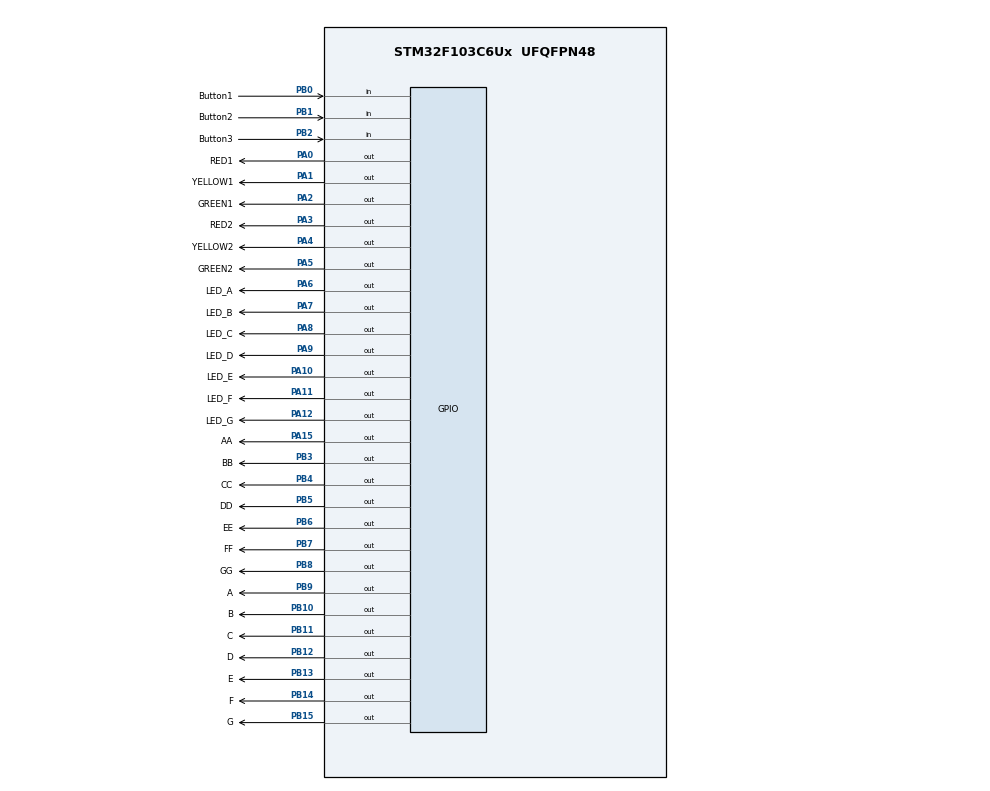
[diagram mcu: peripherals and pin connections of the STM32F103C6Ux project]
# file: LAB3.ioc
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Mcu.Family=STM32F1
Mcu.Name=STM32F103C6Ux
Mcu.Package=UFQFPN48
NVIC.PriorityGroup=NVIC_PRIORITYGROUP_4
NVIC.TIM2_IRQn=true\:0\:0\:false\:false\:true\:true\:true
PA0-WKUP.GPIO_Label=RED1
PA0-WKUP.Signal=GPIO_Output
PA1.GPIO_Label=YELLOW1
PA1.Signal=GPIO_Output
PA10.GPIO_Label=LED_E
PA10.Signal=GPIO_Output
PA11.GPIO_Label=LED_F
PA11.Signal=GPIO_Output
PA12.GPIO_Label=LED_G
PA12.Signal=GPIO_Output
PA15.GPIO_Label=AA
PA15.Signal=GPIO_Output
PA2.GPIO_Label=GREEN1
PA2.Signal=GPIO_Output
PA3.GPIO_Label=RED2
PA3.Signal=GPIO_Output
PA4.GPIO_Label=YELLOW2
PA4.Signal=GPIO_Output
PA5.GPIO_Label=GREEN2
PA5.Signal=GPIO_Output
PA6.GPIO_Label=LED_A
PA6.Signal=GPIO_Output
PA7.GPIO_Label=LED_B
PA7.Signal=GPIO_Output
PA8.GPIO_Label=LED_C
PA8.Signal=GPIO_Output
PA9.GPIO_Label=LED_D
PA9.Signal=GPIO_Output
PB0.GPIO_Label=Button1
PB0.Signal=GPIO_Input
PB1.GPIO_Label=Button2
PB1.Signal=GPIO_Input
PB10.GPIO_Label=B
PB10.Signal=GPIO_Output
PB11.GPIO_Label=C
PB11.Signal=GPIO_Output
PB12.GPIO_Label=D
PB12.Signal=GPIO_Output
PB13.GPIO_Label=E
PB13.Signal=GPIO_Output
PB14.GPIO_Label=F
PB14.Signal=GPIO_Output
PB15.GPIO_Label=G
PB15.Signal=GPIO_Output
PB2.GPIO_Label=Button3
PB2.Signal=GPIO_Input
PB3.GPIO_Label=BB
PB3.Signal=GPIO_Output
PB4.GPIO_Label=CC
PB4.Signal=GPIO_Output
PB5.GPIO_Label=DD
PB5.Signal=GPIO_Output
PB6.GPIO_Label=EE
PB6.Signal=GPIO_Output
PB7.GPIO_Label=FF
PB7.Signal=GPIO_Output
PB8.GPIO_Label=GG
PB8.Signal=GPIO_Output
PB9.GPIO_Label=A
PB9.Signal=GPIO_Output
ProjectManager.HeapSize=0x200
ProjectManager.StackSize=0x400
ProjectManager.TargetToolchain=STM32CubeIDE
RCC.APB1Freq_Value=8000000
RCC.APB2Freq_Value=8000000
TIM2.Period=9
TIM2.Prescaler=7999
VP_SYS_VS_ND.Mode=No_Debug
VP_TIM2_VS_ClockSourceINT.Mode=Internal
board=custom

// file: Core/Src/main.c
/* USER CODE BEGIN Header */
/**
  ******************************************************************************
  * @file           : main.c
  * @brief          : Main program body
  ******************************************************************************
  * @attention
  *
  * <h2><center>&copy; Copyright (c) 2022 STMicroelectronics.
  * All rights reserved.</center></h2>
  *
  * This software component is licensed by ST under BSD 3-Clause license,
  * the "License"; You may not use this file except in compliance with the
  * License. You may obtain a copy of the License at:
  *                        opensource.org/licenses/BSD-3-Clause
  *
  ******************************************************************************
  */
/* USER CODE END Header */
#include "main.h"

/* USER CODE BEGIN Includes */
#include "global.h"
#include "software_timer.h"
#include "fsm_automatic.h"
#include "button.h"
#include "display7SEG.h"
#include "button2.h"
#include "button3.h"
#include "toggleLED.h"
/* USER CODE END Includes */

TIM_HandleTypeDef htim2;

void SystemClock_Config(void);
static void MX_GPIO_Init(void);
static void MX_TIM2_Init(void);

int main(void)
{

  /* MCU Configuration--------------------------------------------------------*/

  /* Reset of all peripherals, Initializes the Flash interface and the Systick. */
  HAL_Init();

  /* Configure the system clock */
  SystemClock_Config();

  /* Initialize all configured peripherals */
  MX_GPIO_Init();
  MX_TIM2_Init();
  /* USER CODE BEGIN 2 */
  HAL_TIM_Base_Start_IT(&htim2);
  /* USER CODE END 2 */

  /* Infinite loop */
  /* USER CODE BEGIN WHILE */
  status = INIT;
  status2 = INIT;
  while (1)
  {
	  if(Mode == 1){
		  fsm_automatic_run();
		  fsm_automatic_run2();
	  }
    /* USER CODE END WHILE */

  }
}

void SystemClock_Config(void)
{
  RCC_OscInitTypeDef RCC_OscInitStruct = {0};
  RCC_ClkInitTypeDef RCC_ClkInitStruct = {0};

  /** Initializes the RCC Oscillators according to the specified parameters
  * in the RCC_OscInitTypeDef structure.
  */
  RCC_OscInitStruct.OscillatorType = RCC_OSCILLATORTYPE_HSI;
  RCC_OscInitStruct.HSIState = RCC_HSI_ON;
  RCC_OscInitStruct.HSICalibrationValue = RCC_HSICALIBRATION_DEFAULT;
  RCC_OscInitStruct.PLL.PLLState = RCC_PLL_NONE;
  if (HAL_RCC_OscConfig(&RCC_OscInitStruct) != HAL_OK)
  {
    Error_Handler();
  }
  /** Initializes the CPU, AHB and APB buses clocks
  */
  RCC_ClkInitStruct.ClockType = RCC_CLOCKTYPE_HCLK|RCC_CLOCKTYPE_SYSCLK
                              |RCC_CLOCKTYPE_PCLK1|RCC_CLOCKTYPE_PCLK2;
  RCC_ClkInitStruct.SYSCLKSource = RCC_SYSCLKSOURCE_HSI;
  RCC_ClkInitStruct.AHBCLKDivider = RCC_SYSCLK_DIV1;
  RCC_ClkInitStruct.APB1CLKDivider = RCC_HCLK_DIV1;
  RCC_ClkInitStruct.APB2CLKDivider = RCC_HCLK_DIV1;

  if (HAL_RCC_ClockConfig(&RCC_ClkInitStruct, FLASH_LATENCY_0) != HAL_OK)
  {
    Error_Handler();
  }
}

static void MX_TIM2_Init(void)
{

  TIM_ClockConfigTypeDef sClockSourceConfig = {0};
  TIM_MasterConfigTypeDef sMasterConfig = {0};

  htim2.Instance = TIM2;
  htim2.Init.Prescaler = 7999;
  htim2.Init.CounterMode = TIM_COUNTERMODE_UP;
  htim2.Init.Period = 9;
  htim2.Init.ClockDivision = TIM_CLOCKDIVISION_DIV1;
  htim2.Init.AutoReloadPreload = TIM_AUTORELOAD_PRELOAD_DISABLE;
  if (HAL_TIM_Base_Init(&htim2) != HAL_OK)
  {
    Error_Handler();
  }
  sClockSourceConfig.ClockSource = TIM_CLOCKSOURCE_INTERNAL;
  if (HAL_TIM_ConfigClockSource(&htim2, &sClockSourceConfig) != HAL_OK)
  {
    Error_Handler();
  }
  sMasterConfig.MasterOutputTrigger = TIM_TRGO_RESET;
  sMasterConfig.MasterSlaveMode = TIM_MASTERSLAVEMODE_DISABLE;
  if (HAL_TIMEx_MasterConfigSynchronization(&htim2, &sMasterConfig) != HAL_OK)
  {
    Error_Handler();
  }

}

static void MX_GPIO_Init(void)
{
  GPIO_InitTypeDef GPIO_InitStruct = {0};

  /* GPIO Ports Clock Enable */
  __HAL_RCC_GPIOA_CLK_ENABLE();
  __HAL_RCC_GPIOB_CLK_ENABLE();

  /*Configure GPIO pin Output Level */
  HAL_GPIO_WritePin(GPIOA, RED1_Pin|YELLOW1_Pin|GREEN1_Pin|RED2_Pin
                          |YELLOW2_Pin|GREEN2_Pin|LED_A_Pin|LED_B_Pin
                          |LED_C_Pin|LED_D_Pin|LED_E_Pin|LED_F_Pin
                          |LED_G_Pin|AA_Pin, GPIO_PIN_RESET);

  /*Configure GPIO pin Output Level */
  HAL_GPIO_WritePin(GPIOB, B_Pin|C_Pin|D_Pin|E_Pin
                          |F_Pin|G_Pin|BB_Pin|CC_Pin
                          |DD_Pin|EE_Pin|FF_Pin|GG_Pin
                          |A_Pin, GPIO_PIN_RESET);

  /*Configure GPIO pins : RED1_Pin YELLOW1_Pin GREEN1_Pin RED2_Pin
                           YELLOW2_Pin GREEN2_Pin LED_A_Pin LED_B_Pin
                           LED_C_Pin LED_D_Pin LED_E_Pin LED_F_Pin
                           LED_G_Pin AA_Pin */
  GPIO_InitStruct.Pin = RED1_Pin|YELLOW1_Pin|GREEN1_Pin|RED2_Pin
                          |YELLOW2_Pin|GREEN2_Pin|LED_A_Pin|LED_B_Pin
                          |LED_C_Pin|LED_D_Pin|LED_E_Pin|LED_F_Pin
                          |LED_G_Pin|AA_Pin;
  GPIO_InitStruct.Mode = GPIO_MODE_OUTPUT_PP;
  GPIO_InitStruct.Pull = GPIO_NOPULL;
  GPIO_InitStruct.Speed = GPIO_SPEED_FREQ_LOW;
  HAL_GPIO_Init(GPIOA, &GPIO_InitStruct);

  /*Configure GPIO pins : Button1_Pin Button2_Pin Button3_Pin */
  GPIO_InitStruct.Pin = Button1_Pin|Button2_Pin|Button3_Pin;
  GPIO_InitStruct.Mode = GPIO_MODE_INPUT;
  GPIO_InitStruct.Pull = GPIO_NOPULL;
  HAL_GPIO_Init(GPIOB, &GPIO_InitStruct);

  /*Configure GPIO pins : B_Pin C_Pin D_Pin E_Pin
                           F_Pin G_Pin BB_Pin CC_Pin
                           DD_Pin EE_Pin FF_Pin GG_Pin
                           A_Pin */
  GPIO_InitStruct.Pin = B_Pin|C_Pin|D_Pin|E_Pin
                          |F_Pin|G_Pin|BB_Pin|CC_Pin
                          |DD_Pin|EE_Pin|FF_Pin|GG_Pin
                          |A_Pin;
  GPIO_InitStruct.Mode = GPIO_MODE_OUTPUT_PP;
  GPIO_InitStruct.Pull = GPIO_NOPULL;
  GPIO_InitStruct.Speed = GPIO_SPEED_FREQ_LOW;
  HAL_GPIO_Init(GPIOB, &GPIO_InitStruct);

}

/* USER CODE BEGIN 4 */
void HAL_TIM_PeriodElapsedCallback(TIM_HandleTypeDef *htim){
	//HAL_GPIO_TogglePin ( RED1_GPIO_Port , RED1_Pin );
	getKeyInput();
	getKeyInput2();
	getKeyInput3();
	display7SEG(Mode);
	if(Mode == 1){
		timer_run();
		timer_run2 ();
	}
	else{
		toggleLED();
	}

}
/* USER CODE END 4 */

void Error_Handler(void)
{
  __disable_irq();
  while (1)
  {
  }
}

/************************ (C) COPYRIGHT STMicroelectronics *****END OF FILE****/
